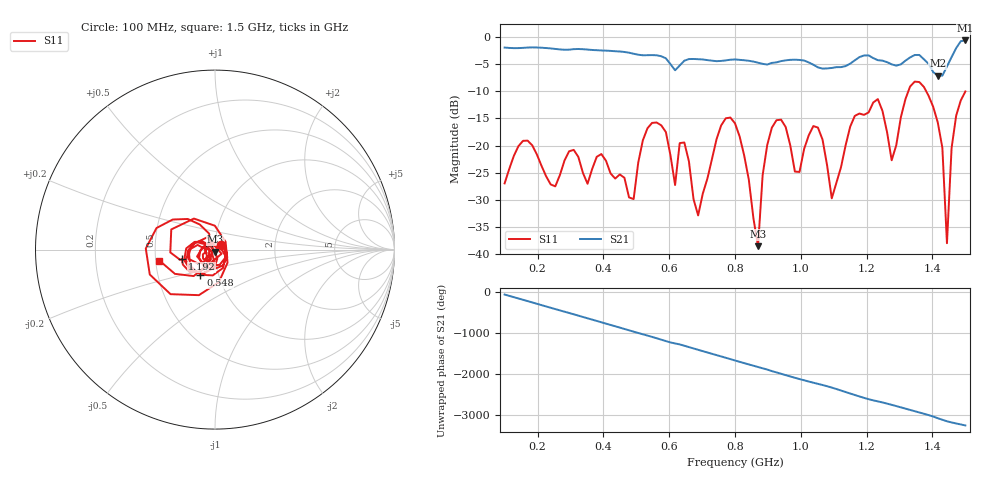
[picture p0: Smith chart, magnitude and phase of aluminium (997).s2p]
! NanoVNA-App
! Date: 2025-09-25 15:03:02
! Start: 100MHz Stop: 1,5GHz Points: 101
! S-Parameter data: F S11 S21 S12 S22
# Hz S RI R 50
!  Frequency  S11_Real  S11_Imag  S21_Real  S21_Imag  S12_Real  S12_Imag  S22_Real  S22_Imag
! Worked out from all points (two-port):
!   101 points, 100 MHz to 1.5 GHz, reference 50 ohm
!   highest |S21| = -0.61 dB at 1.5 GHz (marker M1); lowest = -7.1 dB at 1.416 GHz (marker M2)
!   |S21| within 3 dB of the highest: start of sweep to 579.3 MHz; 1.459 GHz to end of sweep (the widest 2 of 4)
!   lowest |S11| = -38.5 dB at 870 MHz (marker M3), VSWR 1.02, Z = 50.1 - j1.18 ohm
!   |S11| at or under -10 dB: start of sweep to 1.327 GHz; 1.381 GHz to end of sweep
!   S12 and S22 are empty: the file has one direction only
!   S11 on the Smith chart (normalised r, x): 100 MHz: 1.07, +0.06; 548 MHz: 0.82, -0.24; 1.192 GHz: 0.68, -0.07; 1.5 GHz: 0.52, -0.07
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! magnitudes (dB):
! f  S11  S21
! 100 MHz  -27.0  -1.9
! 156 MHz  -19.1  -2.0
! 338 MHz  -25.0  -2.2
! 492 MHz  -29.9  -3.1
! 548 MHz  -15.8  -3.3
! 576 MHz  -16.3  -3.5
! 618 MHz  -27.3  -6.1
! 646 MHz  -19.4  -4.3
! 688 MHz  -32.9  -4.1
! 800 MHz  -15.9  -4.1
! 870 MHz  -38.5  -4.7
! 912 MHz  -16.7  -4.7
! 996 MHz  -24.9  -4.2
! 1.038 GHz  -16.4  -5.1
! 1.094 GHz  -29.7  -5.7
! 1.192 GHz  -14.3  -3.4
! 1.276 GHz  -22.7  -5.0
! 1.346 GHz  -8.2  -3.3
! 1.416 GHz  -15.7  -7.1
! 1.444 GHz  -38.0  -5.4
! 1.458 GHz  -20.5  -3.7
! 1.5 GHz  -10.0  -0.6
